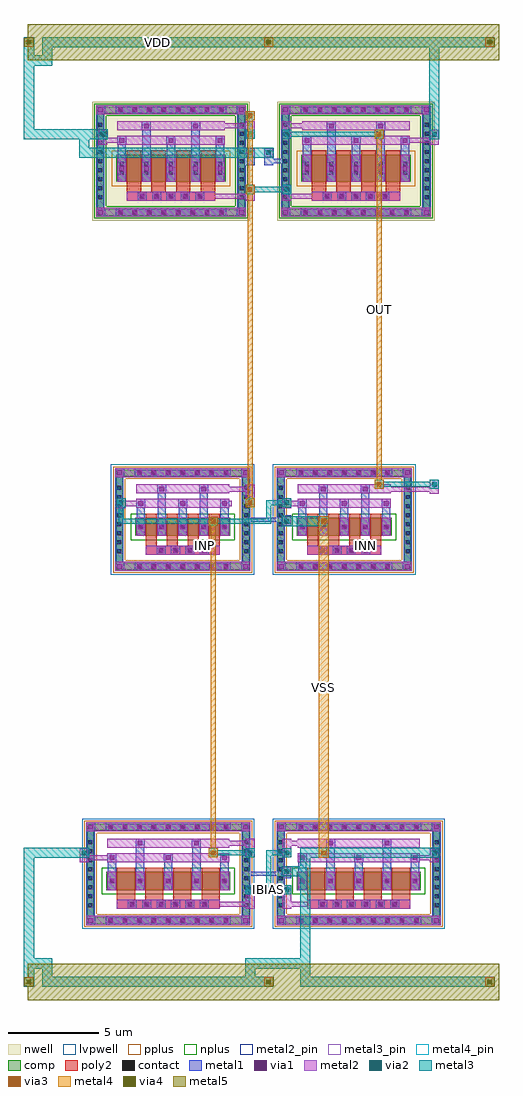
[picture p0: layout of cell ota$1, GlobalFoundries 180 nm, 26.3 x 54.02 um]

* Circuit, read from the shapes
.subckt ota$1 IBIAS INN INP OUT VDD VSS
XM1 n1 IBIAS VSS VSS nfet_03v3 w=1u l=1u m=4
XM2 n2 INP n1 VSS nfet_03v3 w=1u l=0.6u m=4
XM3 IBIAS IBIAS VSS VSS nfet_03v3 w=1u l=1u m=4
XM4 OUT INN n1 VSS nfet_03v3 w=1u l=0.6u m=4
XM5 n2 n2 VDD VDD pfet_03v3 w=1.5u l=0.8u m=4
XM6 OUT n2 VDD VDD pfet_03v3 w=1.5u l=0.8u m=4
.ends

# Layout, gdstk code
import gdstk
lib = gdstk.Library(unit=1e-6, precision=1e-09)
def R(c, l, rs):  # rectangles x0, y0, x1, y1
    for r in rs: c.add(gdstk.rectangle(r[:2], r[2:], *l))
def A(c, l, x, y, w, h, nx, ny, dx, dy):  # array of equal rectangles
    R(c, l, [(x+i*dx, y+j*dy, x+i*dx+w, y+j*dy+h) for i in range(nx) for j in range(ny)])
def P(c, l, *ps):  # polygons
    for p in ps: c.add(gdstk.Polygon(p, *l))
nwell = (21, 0)
comp = (22, 0)
poly2 = (30, 0)
pplus = (31, 0)
nplus = (32, 0)
contact = (33, 0)
metal1 = (34, 0)
via1 = (35, 0)
metal2 = (36, 0)
metal2_pin = (36, 10)
via2 = (38, 0)
via3 = (40, 0)
via4 = (41, 0)
metal3 = (42, 0)
metal3_pin = (42, 10)
metal4 = (46, 0)
metal4_pin = (46, 10)
metal5 = (81, 0)
lvpwell = (204, 0)

ota_1 = lib.new_cell('ota$1')
R(ota_1, nwell, [(-9.49,39.2,-0.75,45.79), (0.75,39.2,9.49,45.79)])
A(ota_1, comp, -8.65, 0.28, 0.36, 0.36, 9, 2, 0.8, 5.18)
A(ota_1, comp, 1.89, 0.28, 0.36, 0.36, 9, 2, 0.8, 5.18)
A(ota_1, comp, -9.76, 1.12, 0.36, 0.36, 1, 8, 0, 0.5)
A(ota_1, comp, -1.14, 1.12, 0.36, 0.36, 1, 8, 0, 0.5)
A(ota_1, comp, 0.78, 1.12, 0.36, 0.36, 1, 8, 0, 0.5)
A(ota_1, comp, 9.4, 1.12, 0.36, 0.36, 1, 8, 0, 0.5)
A(ota_1, comp, -7.05, 19.88, 0.36, 0.36, 7, 2, 0.8, 5.18)
A(ota_1, comp, 1.89, 19.88, 0.36, 0.36, 7, 2, 0.8, 5.18)
A(ota_1, comp, -8.16, 20.72, 0.36, 0.36, 1, 8, 0, 0.5)
A(ota_1, comp, -1.14, 20.72, 0.36, 0.36, 1, 8, 0, 0.5)
A(ota_1, comp, 0.78, 20.72, 0.36, 0.36, 1, 8, 0, 0.5)
A(ota_1, comp, 7.8, 20.72, 0.36, 0.36, 1, 8, 0, 0.5)
A(ota_1, comp, -8.1, 39.48, 0.36, 0.36, 8, 2, 0.8, 5.67)
A(ota_1, comp, 2.14, 39.48, 0.36, 0.36, 8, 2, 0.8, 5.67)
A(ota_1, comp, -9.21, 40.315, 0.36, 0.36, 1, 9, 0, 0.5)
A(ota_1, comp, -1.39, 40.315, 0.36, 0.36, 1, 9, 0, 0.5)
A(ota_1, comp, 1.03, 40.315, 0.36, 0.36, 1, 9, 0, 0.5)
A(ota_1, comp, 8.85, 40.315, 0.36, 0.36, 1, 9, 0, 0.5)
R(ota_1, comp, [(-8.65,0.28,-1.89,0.64), (1.89,0.28,8.65,0.64), (-9.76,1.12,-9.4,4.98), (-1.14,1.12,-0.78,4.98), (0.78,1.12,1.14,4.98), (9.4,1.12,9.76,4.98), (-8.71,2.145,-1.83,3.145), (1.83,2.145,8.71,3.145), (-8.65,5.46,-1.89,5.82), (1.89,5.46,8.65,5.82), (-7.05,19.88,-1.89,20.24), (1.89,19.88,7.05,20.24), (-8.16,20.72,-7.8,24.58), (-1.14,20.72,-0.78,24.58), (0.78,20.72,1.14,24.58), (7.8,20.72,8.16,24.58), (-7.11,21.745,-1.83,22.745), (1.83,21.745,7.11,22.745), (-7.05,25.06,-1.89,25.42), (1.89,25.06,7.05,25.42), (-8.1,39.48,-2.14,39.84), (2.14,39.48,8.1,39.84), (-9.21,40.315,-8.85,44.675), (-1.39,40.315,-1.03,44.675), (1.03,40.315,1.39,44.675), (8.85,40.315,9.21,44.675), (-8.16,41.34,-2.08,42.84), (2.08,41.34,8.16,42.84), (-8.1,45.15,-2.14,45.51), (2.14,45.15,8.1,45.51)])
P(ota_1, comp, [(-8.16,19.88),(-8.16,20.24),(-1.14,20.24),(-1.14,25.06),(-7.8,25.06),(-7.8,20.24),(-8.16,20.24),(-8.16,25.42),(-0.78,25.42),(-0.78,19.88)],
  [(0.78,0.28),(0.78,0.64),(9.4,0.64),(9.4,5.46),(1.14,5.46),(1.14,0.64),(0.78,0.64),(0.78,5.82),(9.76,5.82),(9.76,0.28)],
  [(-9.76,0.28),(-9.76,0.64),(-1.14,0.64),(-1.14,5.46),(-9.4,5.46),(-9.4,0.64),(-9.76,0.64),(-9.76,5.82),(-0.78,5.82),(-0.78,0.28)],
  [(1.03,39.48),(1.03,39.84),(8.85,39.84),(8.85,45.15),(1.39,45.15),(1.39,39.84),(1.03,39.84),(1.03,45.51),(9.21,45.51),(9.21,39.48)],
  [(-9.21,39.48),(-9.21,39.84),(-1.39,39.84),(-1.39,45.15),(-8.85,45.15),(-8.85,39.84),(-9.21,39.84),(-9.21,45.51),(-1.03,45.51),(-1.03,39.48)],
  [(0.78,19.88),(0.78,20.24),(7.8,20.24),(7.8,25.06),(1.14,25.06),(1.14,20.24),(0.78,20.24),(0.78,25.42),(8.16,25.42),(8.16,19.88)])
A(ota_1, poly2, -7.45, 1.175, 0.36, 0.36, 6, 1, 0.8, 0)
A(ota_1, poly2, 3.09, 1.175, 0.36, 0.36, 6, 1, 0.8, 0)
A(ota_1, poly2, -8.11, 1.605, 1, 0.3, 4, 1, 1.56, 0)
A(ota_1, poly2, 2.43, 1.605, 1, 0.3, 4, 1, 1.56, 0)
A(ota_1, poly2, -8.11, 1.905, 1, 1.48, 4, 1, 1.56, 0)
A(ota_1, poly2, 2.43, 1.905, 1, 1.48, 4, 1, 1.56, 0)
A(ota_1, poly2, -5.85, 20.775, 0.36, 0.36, 4, 1, 0.8, 0)
A(ota_1, poly2, 3.09, 20.775, 0.36, 0.36, 4, 1, 0.8, 0)
A(ota_1, poly2, -6.51, 21.205, 0.6, 0.3, 4, 1, 1.16, 0)
A(ota_1, poly2, 2.43, 21.205, 0.6, 0.3, 4, 1, 1.16, 0)
A(ota_1, poly2, -6.51, 21.505, 0.6, 1.48, 4, 1, 1.16, 0)
A(ota_1, poly2, 2.43, 21.505, 0.6, 1.48, 4, 1, 1.16, 0)
A(ota_1, poly2, -6.9, 40.37, 0.36, 0.36, 5, 1, 0.8, 0)
A(ota_1, poly2, 3.34, 40.37, 0.36, 0.36, 5, 1, 0.8, 0)
A(ota_1, poly2, -7.56, 40.8, 0.8, 0.3, 4, 1, 1.36, 0)
A(ota_1, poly2, 2.68, 40.8, 0.8, 0.3, 4, 1, 1.36, 0)
A(ota_1, poly2, -7.56, 41.1, 0.8, 1.98, 4, 1, 1.36, 0)
A(ota_1, poly2, 2.68, 41.1, 0.8, 1.98, 4, 1, 1.36, 0)
R(ota_1, poly2, [(-8.11,1.105,-2.43,1.605), (2.43,1.105,8.11,1.605), (-6.51,20.705,-2.43,21.205), (2.43,20.705,6.51,21.205), (-7.56,40.3,-2.68,40.8), (2.68,40.3,7.56,40.8)])
R(ota_1, pplus, [(-8.39,41.11,-1.85,43.07), (1.85,41.11,8.39,43.07)])
P(ota_1, pplus, [(-8.32,19.72),(-8.32,20.4),(-1.3,20.4),(-1.3,24.9),(-7.64,24.9),(-7.64,20.4),(-8.32,20.4),(-8.32,25.58),(-0.62,25.58),(-0.62,19.72)],
  [(0.62,0.12),(0.62,0.8),(9.24,0.8),(9.24,5.3),(1.3,5.3),(1.3,0.8),(0.62,0.8),(0.62,5.98),(9.92,5.98),(9.92,0.12)],
  [(-9.92,0.12),(-9.92,0.8),(-1.3,0.8),(-1.3,5.3),(-9.24,5.3),(-9.24,0.8),(-9.92,0.8),(-9.92,5.98),(-0.62,5.98),(-0.62,0.12)],
  [(0.62,19.72),(0.62,20.4),(7.64,20.4),(7.64,24.9),(1.3,24.9),(1.3,20.4),(0.62,20.4),(0.62,25.58),(8.32,25.58),(8.32,19.72)])
R(ota_1, nplus, [(-8.94,1.915,-1.6,3.375), (1.6,1.915,8.94,3.375), (-7.34,21.515,-1.6,22.975), (1.6,21.515,7.34,22.975)])
P(ota_1, nplus, [(0.87,39.32),(0.87,40),(8.69,40),(8.69,44.99),(1.55,44.99),(1.55,40),(0.87,40),(0.87,45.67),(9.37,45.67),(9.37,39.32)],
  [(-9.37,39.32),(-9.37,40),(-1.55,40),(-1.55,44.99),(-8.69,44.99),(-8.69,40),(-9.37,40),(-9.37,45.67),(-0.87,45.67),(-0.87,39.32)])
A(ota_1, contact, -8.58, 0.35, 0.22, 0.22, 9, 2, 0.8, 5.18)
A(ota_1, contact, 1.96, 0.35, 0.22, 0.22, 9, 2, 0.8, 5.18)
A(ota_1, contact, -9.69, 1.19, 0.22, 0.22, 1, 8, 0, 0.5)
A(ota_1, contact, -1.07, 1.19, 0.22, 0.22, 1, 8, 0, 0.5)
A(ota_1, contact, 0.85, 1.19, 0.22, 0.22, 1, 8, 0, 0.5)
A(ota_1, contact, 9.47, 1.19, 0.22, 0.22, 1, 8, 0, 0.5)
A(ota_1, contact, -7.38, 1.245, 0.22, 0.22, 6, 1, 0.8, 0)
A(ota_1, contact, 3.16, 1.245, 0.22, 0.22, 6, 1, 0.8, 0)
A(ota_1, contact, -8.5, 2.535, 0.22, 0.22, 5, 1, 1.56, 0)
A(ota_1, contact, 2.04, 2.535, 0.22, 0.22, 5, 1, 1.56, 0)
A(ota_1, contact, -6.98, 19.95, 0.22, 0.22, 7, 2, 0.8, 5.18)
A(ota_1, contact, 1.96, 19.95, 0.22, 0.22, 7, 2, 0.8, 5.18)
A(ota_1, contact, -8.09, 20.79, 0.22, 0.22, 1, 8, 0, 0.5)
A(ota_1, contact, -1.07, 20.79, 0.22, 0.22, 1, 8, 0, 0.5)
A(ota_1, contact, 0.85, 20.79, 0.22, 0.22, 1, 8, 0, 0.5)
A(ota_1, contact, 7.87, 20.79, 0.22, 0.22, 1, 8, 0, 0.5)
A(ota_1, contact, -5.78, 20.845, 0.22, 0.22, 4, 1, 0.8, 0)
A(ota_1, contact, 3.16, 20.845, 0.22, 0.22, 4, 1, 0.8, 0)
A(ota_1, contact, -6.9, 22.135, 0.22, 0.22, 5, 1, 1.16, 0)
A(ota_1, contact, 2.04, 22.135, 0.22, 0.22, 5, 1, 1.16, 0)
A(ota_1, contact, -8.03, 39.55, 0.22, 0.22, 8, 2, 0.8, 5.67)
A(ota_1, contact, 2.21, 39.55, 0.22, 0.22, 8, 2, 0.8, 5.67)
A(ota_1, contact, -9.14, 40.385, 0.22, 0.22, 1, 9, 0, 0.5)
A(ota_1, contact, -1.32, 40.385, 0.22, 0.22, 1, 9, 0, 0.5)
A(ota_1, contact, 1.1, 40.385, 0.22, 0.22, 1, 9, 0, 0.5)
A(ota_1, contact, 8.92, 40.385, 0.22, 0.22, 1, 9, 0, 0.5)
A(ota_1, contact, -6.83, 40.44, 0.22, 0.22, 5, 1, 0.8, 0)
A(ota_1, contact, 3.41, 40.44, 0.22, 0.22, 5, 1, 0.8, 0)
A(ota_1, contact, -7.95, 41.73, 0.22, 0.22, 5, 2, 1.36, 0.5)
A(ota_1, contact, 2.29, 41.73, 0.22, 0.22, 5, 2, 1.36, 0.5)
A(ota_1, metal1, -8.72, 0.21, 0.5, 0.5, 9, 2, 0.8, 5.18)
A(ota_1, metal1, 1.82, 0.21, 0.5, 0.5, 9, 2, 0.8, 5.18)
A(ota_1, metal1, -9.81, 1.07, 0.46, 0.46, 1, 8, 0, 0.5)
A(ota_1, metal1, -1.19, 1.07, 0.46, 0.46, 1, 8, 0, 0.5)
A(ota_1, metal1, 0.73, 1.07, 0.46, 0.46, 1, 8, 0, 0.5)
A(ota_1, metal1, 9.35, 1.07, 0.46, 0.46, 1, 8, 0, 0.5)
A(ota_1, metal1, -7.52, 1.105, 0.5, 0.5, 6, 1, 0.8, 0)
A(ota_1, metal1, 3.02, 1.105, 0.5, 0.5, 6, 1, 0.8, 0)
A(ota_1, metal1, -8.62, 2.145, 0.46, 1, 5, 1, 1.56, 0)
A(ota_1, metal1, 1.92, 2.145, 0.46, 1, 5, 1, 1.56, 0)
A(ota_1, metal1, -8.62, 2.415, 0.46, 0.46, 5, 1, 1.56, 0)
A(ota_1, metal1, 1.92, 2.415, 0.46, 0.46, 5, 1, 1.56, 0)
A(ota_1, metal1, -8.62, 3.145, 0.46, 1.05, 3, 1, 3.12, 0)
A(ota_1, metal1, 1.92, 3.145, 0.46, 1.05, 3, 1, 3.12, 0)
A(ota_1, metal1, -8.64, 3.695, 0.5, 0.5, 3, 1, 3.12, 0)
A(ota_1, metal1, 1.9, 3.695, 0.5, 0.5, 3, 1, 3.12, 0)
A(ota_1, metal1, -7.12, 19.81, 0.5, 0.5, 7, 2, 0.8, 5.18)
A(ota_1, metal1, 1.82, 19.81, 0.5, 0.5, 7, 2, 0.8, 5.18)
A(ota_1, metal1, -8.21, 20.67, 0.46, 0.46, 1, 8, 0, 0.5)
A(ota_1, metal1, -1.19, 20.67, 0.46, 0.46, 1, 8, 0, 0.5)
A(ota_1, metal1, 0.73, 20.67, 0.46, 0.46, 1, 8, 0, 0.5)
A(ota_1, metal1, 7.75, 20.67, 0.46, 0.46, 1, 8, 0, 0.5)
A(ota_1, metal1, -5.92, 20.705, 0.5, 0.5, 4, 1, 0.8, 0)
A(ota_1, metal1, 3.02, 20.705, 0.5, 0.5, 4, 1, 0.8, 0)
A(ota_1, metal1, -7.02, 21.745, 0.46, 1, 5, 1, 1.16, 0)
A(ota_1, metal1, 1.92, 21.745, 0.46, 1, 5, 1, 1.16, 0)
A(ota_1, metal1, -7.02, 22.015, 0.46, 0.46, 5, 1, 1.16, 0)
A(ota_1, metal1, 1.92, 22.015, 0.46, 0.46, 5, 1, 1.16, 0)
A(ota_1, metal1, -7.02, 22.745, 0.46, 1.05, 3, 1, 2.32, 0)
A(ota_1, metal1, 1.92, 22.745, 0.46, 1.05, 3, 1, 2.32, 0)
A(ota_1, metal1, -7.04, 23.295, 0.5, 0.5, 3, 1, 2.32, 0)
A(ota_1, metal1, 1.9, 23.295, 0.5, 0.5, 3, 1, 2.32, 0)
A(ota_1, metal1, -8.17, 39.41, 0.5, 0.5, 8, 2, 0.8, 5.67)
A(ota_1, metal1, 2.07, 39.41, 0.5, 0.5, 8, 2, 0.8, 5.67)
A(ota_1, metal1, -9.26, 40.265, 0.46, 0.46, 1, 9, 0, 0.5)
A(ota_1, metal1, -1.44, 40.265, 0.46, 0.46, 1, 9, 0, 0.5)
A(ota_1, metal1, 0.98, 40.265, 0.46, 0.46, 1, 9, 0, 0.5)
A(ota_1, metal1, 8.8, 40.265, 0.46, 0.46, 1, 9, 0, 0.5)
A(ota_1, metal1, -6.97, 40.3, 0.5, 0.5, 5, 1, 0.8, 0)
A(ota_1, metal1, 3.27, 40.3, 0.5, 0.5, 5, 1, 0.8, 0)
A(ota_1, metal1, -8.07, 41.34, 0.46, 1.5, 5, 1, 1.36, 0)
A(ota_1, metal1, 2.17, 41.34, 0.46, 1.5, 5, 1, 1.36, 0)
A(ota_1, metal1, -8.07, 41.61, 0.46, 0.46, 5, 2, 1.36, 0.5)
A(ota_1, metal1, 2.17, 41.61, 0.46, 0.46, 5, 2, 1.36, 0.5)
A(ota_1, metal1, -8.07, 42.84, 0.46, 1.05, 3, 1, 2.72, 0)
A(ota_1, metal1, 2.17, 42.84, 0.46, 1.05, 3, 1, 2.72, 0)
A(ota_1, metal1, -8.09, 43.39, 0.5, 0.5, 3, 1, 2.72, 0)
A(ota_1, metal1, 2.15, 43.39, 0.5, 0.5, 3, 1, 2.72, 0)
R(ota_1, metal1, [(-9.81,0.21,-9.31,0.71), (-9.81,0.21,-9.31,0.71), (-9.81,0.21,-9.35,0.64), (-8.72,0.21,-1.82,0.71), (-1.23,0.21,-0.73,0.71), (-1.23,0.21,-0.73,0.71), (-1.19,0.21,-0.73,0.64), (0.73,0.21,1.23,0.71), (0.73,0.21,1.23,0.71), (0.73,0.21,1.19,0.64), (1.82,0.21,8.72,0.71), (9.31,0.21,9.81,0.71), (9.31,0.21,9.81,0.71), (9.35,0.21,9.81,0.64), (-9.81,0.64,-9.35,5.46), (-1.19,0.64,-0.73,5.46), (0.73,0.64,1.19,5.46), (9.35,0.64,9.81,5.46), (-8.64,2.395,-8.14,2.895), (-8.64,2.395,-8.14,2.895), (-7.08,2.395,-6.58,2.895), (-7.08,2.395,-6.58,2.895), (-5.52,2.395,-5.02,2.895), (-5.52,2.395,-5.02,2.895), (-3.96,2.395,-3.46,2.895), (-3.96,2.395,-3.46,2.895), (-2.4,2.395,-1.9,2.895), (-2.4,2.395,-1.9,2.895), (1.9,2.395,2.4,2.895), (1.9,2.395,2.4,2.895), (3.46,2.395,3.96,2.895), (3.46,2.395,3.96,2.895), (5.02,2.395,5.52,2.895), (5.02,2.395,5.52,2.895), (6.58,2.395,7.08,2.895), (6.58,2.395,7.08,2.895), (8.14,2.395,8.64,2.895), (8.14,2.395,8.64,2.895), (1.05,2.53,1.19,2.8), (1.05,2.53,1.19,2.8), (1.05,2.53,1.19,2.8), (1.05,2.53,1.19,2.8), (1.05,2.8,1.55,3.43), (1.05,2.8,1.55,3.43), (1.05,2.8,1.55,3.43), (1.05,2.8,1.55,3.43), (1.05,2.93,1.55,3.43), (-0.845,2.935,1.415,3.165), (-0.845,2.935,1.415,3.165), (0.615,2.935,1.415,3.165), (0.615,2.935,1.415,3.165), (-7.06,3.145,-6.6,4.995), (-3.94,3.145,-3.48,4.995), (3.48,3.145,3.94,4.995), (6.6,3.145,7.06,4.995), (1.05,3.43,1.19,3.57), (1.05,3.43,1.19,3.57), (1.05,3.43,1.19,3.57), (1.05,3.43,1.19,3.57), (-7.08,4.495,-6.58,4.995), (-3.96,4.495,-3.46,4.995), (3.46,4.495,3.96,4.995), (6.58,4.495,7.08,4.995), (-9.81,5.39,-9.31,5.89), (-9.81,5.39,-9.31,5.89), (-8.72,5.39,-1.82,5.89), (-1.23,5.39,-0.73,5.89), (-1.23,5.39,-0.73,5.89), (0.73,5.39,1.23,5.89), (0.73,5.39,1.23,5.89), (1.82,5.39,8.72,5.89), (9.31,5.39,9.81,5.89), (9.31,5.39,9.81,5.89), (-9.81,5.46,-9.35,5.89), (-1.19,5.46,-0.73,5.89), (0.73,5.46,1.19,5.89), (9.35,5.46,9.81,5.89), (-8.21,19.81,-7.71,20.31), (-8.21,19.81,-7.71,20.31), (-8.21,19.81,-7.75,20.24), (-7.12,19.81,-1.82,20.31), (-1.23,19.81,-0.73,20.31), (-1.23,19.81,-0.73,20.31), (-1.19,19.81,-0.73,20.24), (0.73,19.81,1.23,20.31), (0.73,19.81,1.23,20.31), (0.73,19.81,1.19,20.24), (1.82,19.81,7.12,20.31), (7.71,19.81,8.21,20.31), (7.71,19.81,8.21,20.31), (7.75,19.81,8.21,20.24), (-8.21,20.24,-7.75,25.06), (-1.19,20.24,-0.73,25.06), (0.73,20.24,1.19,25.06), (7.75,20.24,8.21,25.06), (-7.04,21.995,-6.54,22.495), (-7.04,21.995,-6.54,22.495), (-5.88,21.995,-5.38,22.495), (-5.88,21.995,-5.38,22.495), (-4.72,21.995,-4.22,22.495), (-4.72,21.995,-4.22,22.495), (-3.56,21.995,-3.06,22.495), (-3.56,21.995,-3.06,22.495), (-2.4,21.995,-1.9,22.495), (-2.4,21.995,-1.9,22.495), (1.9,21.995,2.4,22.495), (1.9,21.995,2.4,22.495), (3.06,21.995,3.56,22.495), (3.06,21.995,3.56,22.495), (4.22,21.995,4.72,22.495), (4.22,21.995,4.72,22.495), (5.38,21.995,5.88,22.495), (5.38,21.995,5.88,22.495), (6.54,21.995,7.04,22.495), (6.54,21.995,7.04,22.495), (1.05,22.13,1.19,22.31), (1.05,22.13,1.19,22.31), (1.05,22.13,1.19,22.31), (1.05,22.13,1.19,22.31), (1.05,22.31,1.55,22.9), (1.05,22.31,1.55,22.9), (1.05,22.31,1.55,22.9), (1.05,22.31,1.55,22.9), (1.05,22.31,1.55,22.81), (-0.845,22.535,1.415,22.765), (-0.845,22.535,1.415,22.765), (0.615,22.535,1.415,22.765), (0.615,22.535,1.415,22.765), (-5.86,22.745,-5.4,24.595), (-3.54,22.745,-3.08,24.595), (3.08,22.745,3.54,24.595), (5.4,22.745,5.86,24.595), (1.05,22.9,1.19,23.17), (1.05,22.9,1.19,23.17), (1.05,22.9,1.19,23.17), (1.05,22.9,1.19,23.17), (-5.88,24.095,-5.38,24.595), (-3.56,24.095,-3.06,24.595), (3.06,24.095,3.56,24.595), (5.38,24.095,5.88,24.595), (-8.21,24.99,-7.71,25.49), (-8.21,24.99,-7.71,25.49), (-7.12,24.99,-1.82,25.49), (-1.23,24.99,-0.73,25.49), (-1.23,24.99,-0.73,25.49), (0.73,24.99,1.23,25.49), (0.73,24.99,1.23,25.49), (1.82,24.99,7.12,25.49), (7.71,24.99,8.21,25.49), (7.71,24.99,8.21,25.49), (-8.21,25.06,-7.75,25.49), (-1.19,25.06,-0.73,25.49), (0.73,25.06,1.19,25.49), (7.75,25.06,8.21,25.49), (-9.26,39.41,-8.76,39.91), (-9.26,39.41,-8.76,39.91), (-9.26,39.41,-8.8,39.84), (-8.17,39.41,-2.07,39.91), (-1.48,39.41,-0.98,39.91), (-1.48,39.41,-0.98,39.91), (-1.44,39.41,-0.98,39.84), (0.98,39.41,1.48,39.91), (0.98,39.41,1.48,39.91), (0.98,39.41,1.44,39.84), (2.07,39.41,8.17,39.91), (8.76,39.41,9.26,39.91), (8.76,39.41,9.26,39.91), (8.8,39.41,9.26,39.84), (-9.26,39.84,-8.8,45.15), (-1.44,39.84,-0.98,45.15), (0.98,39.84,1.44,45.15), (8.8,39.84,9.26,45.15), (-8.09,41.84,-7.59,42.34), (-8.09,41.84,-7.59,42.34), (-6.73,41.84,-6.23,42.34), (-6.73,41.84,-6.23,42.34), (-5.37,41.84,-4.87,42.34), (-5.37,41.84,-4.87,42.34), (-4.01,41.84,-3.51,42.34), (-4.01,41.84,-3.51,42.34), (-2.65,41.84,-2.15,42.34), (-2.65,41.84,-2.15,42.34), (2.15,41.84,2.65,42.34), (2.15,41.84,2.65,42.34), (3.51,41.84,4.01,42.34), (3.51,41.84,4.01,42.34), (4.87,41.84,5.37,42.34), (4.87,41.84,5.37,42.34), (6.23,41.84,6.73,42.34), (6.23,41.84,6.73,42.34), (7.59,41.84,8.09,42.34), (7.59,41.84,8.09,42.34), (-1.095,42.225,-0.98,42.385), (-0.99,42.225,-0.98,42.25), (0.98,42.225,1.095,42.385), (-0.99,42.25,-0.49,43.21), (0.03,42.25,0.53,43.21), (-1.095,42.385,-0.625,42.615), (0.165,42.385,1.095,42.615), (-1.095,42.615,-0.98,42.765), (0.98,42.615,1.095,42.765), (-0.99,42.71,-0.49,43.21), (0.03,42.71,0.53,43.21), (-6.71,42.84,-6.25,44.69), (-3.99,42.84,-3.53,44.69), (3.53,42.84,3.99,44.69), (6.25,42.84,6.71,44.69), (-0.99,43.21,-0.98,43.265), (-6.73,44.19,-6.23,44.69), (-4.01,44.19,-3.51,44.69), (3.51,44.19,4.01,44.69), (6.23,44.19,6.73,44.69), (-9.26,45.08,-8.76,45.58), (-9.26,45.08,-8.76,45.58), (-8.17,45.08,-2.07,45.58), (-1.48,45.08,-0.98,45.58), (-1.48,45.08,-0.98,45.58), (0.98,45.08,1.48,45.58), (0.98,45.08,1.48,45.58), (2.07,45.08,8.17,45.58), (8.76,45.08,9.26,45.58), (8.76,45.08,9.26,45.58), (-9.26,45.15,-8.8,45.58), (-1.44,45.15,-0.98,45.58), (0.98,45.15,1.44,45.58), (8.8,45.15,9.26,45.58)])
A(ota_1, via1, -8.6, 0.33, 0.26, 0.26, 9, 2, 0.8, 5.18)
A(ota_1, via1, 1.94, 0.33, 0.26, 0.26, 9, 2, 0.8, 5.18)
A(ota_1, via1, -7.4, 1.225, 0.26, 0.26, 6, 1, 0.8, 0)
A(ota_1, via1, 3.14, 1.225, 0.26, 0.26, 6, 1, 0.8, 0)
A(ota_1, via1, -8.52, 2.515, 0.26, 0.26, 5, 1, 1.56, 0)
A(ota_1, via1, 2.02, 2.515, 0.26, 0.26, 5, 1, 1.56, 0)
A(ota_1, via1, -8.52, 3.815, 0.26, 0.26, 3, 1, 3.12, 0)
A(ota_1, via1, 2.02, 3.815, 0.26, 0.26, 3, 1, 3.12, 0)
A(ota_1, via1, -7, 19.93, 0.26, 0.26, 7, 2, 0.8, 5.18)
A(ota_1, via1, 1.94, 19.93, 0.26, 0.26, 7, 2, 0.8, 5.18)
A(ota_1, via1, -5.8, 20.825, 0.26, 0.26, 4, 1, 0.8, 0)
A(ota_1, via1, 3.14, 20.825, 0.26, 0.26, 4, 1, 0.8, 0)
A(ota_1, via1, -6.92, 22.115, 0.26, 0.26, 5, 1, 1.16, 0)
A(ota_1, via1, 2.02, 22.115, 0.26, 0.26, 5, 1, 1.16, 0)
A(ota_1, via1, -6.92, 23.415, 0.26, 0.26, 3, 1, 2.32, 0)
A(ota_1, via1, 2.02, 23.415, 0.26, 0.26, 3, 1, 2.32, 0)
A(ota_1, via1, -8.05, 39.53, 0.26, 0.26, 8, 2, 0.8, 5.67)
A(ota_1, via1, 2.19, 39.53, 0.26, 0.26, 8, 2, 0.8, 5.67)
A(ota_1, via1, -6.85, 40.42, 0.26, 0.26, 5, 1, 0.8, 0)
A(ota_1, via1, 3.39, 40.42, 0.26, 0.26, 5, 1, 0.8, 0)
A(ota_1, via1, -7.97, 41.96, 0.26, 0.26, 5, 1, 1.36, 0)
A(ota_1, via1, 2.27, 41.96, 0.26, 0.26, 5, 1, 1.36, 0)
A(ota_1, via1, -7.97, 43.51, 0.26, 0.26, 3, 1, 2.72, 0)
A(ota_1, via1, 2.27, 43.51, 0.26, 0.26, 3, 1, 2.72, 0)
R(ota_1, via1, [(-9.69,0.33,-9.43,0.59), (-1.11,0.33,-0.85,0.59), (0.85,0.33,1.11,0.59), (9.43,0.33,9.69,0.59), (1.17,3.05,1.43,3.31), (-6.96,4.615,-6.7,4.875), (-3.84,4.615,-3.58,4.875), (3.58,4.615,3.84,4.875), (6.7,4.615,6.96,4.875), (-9.69,5.51,-9.43,5.77), (-1.11,5.51,-0.85,5.77), (0.85,5.51,1.11,5.77), (9.43,5.51,9.69,5.77), (-8.09,19.93,-7.83,20.19), (-1.11,19.93,-0.85,20.19), (0.85,19.93,1.11,20.19), (7.83,19.93,8.09,20.19), (1.17,22.43,1.43,22.69), (-5.76,24.215,-5.5,24.475), (-3.44,24.215,-3.18,24.475), (3.18,24.215,3.44,24.475), (5.5,24.215,5.76,24.475), (-8.09,25.11,-7.83,25.37), (-1.11,25.11,-0.85,25.37), (0.85,25.11,1.11,25.37), (7.83,25.11,8.09,25.37), (-9.14,39.53,-8.88,39.79), (-1.36,39.53,-1.1,39.79), (1.1,39.53,1.36,39.79), (8.88,39.53,9.14,39.79), (-0.87,42.83,-0.61,43.09), (0.15,42.83,0.41,43.09), (-6.61,44.31,-6.35,44.57), (-3.89,44.31,-3.63,44.57), (3.63,44.31,3.89,44.57), (6.35,44.31,6.61,44.57), (-9.14,45.2,-8.88,45.46), (-1.36,45.2,-1.1,45.46), (1.1,45.2,1.36,45.46), (8.88,45.2,9.14,45.46)])
A(ota_1, metal2, -8.72, 0.21, 0.5, 0.5, 9, 2, 0.8, 5.18)
A(ota_1, metal2, 1.82, 0.21, 0.5, 0.5, 9, 2, 0.8, 5.18)
A(ota_1, metal2, -7.52, 1.105, 0.5, 0.5, 6, 1, 0.8, 0)
A(ota_1, metal2, 3.02, 1.105, 0.5, 0.5, 6, 1, 0.8, 0)
A(ota_1, metal2, 1.05, 1.91, 0.5, 0.5, 1, 3, 0, 1.02)
A(ota_1, metal2, -8.64, 2.145, 0.5, 1, 5, 1, 1.56, 0)
A(ota_1, metal2, 1.9, 2.145, 0.5, 1, 5, 1, 1.56, 0)
A(ota_1, metal2, -8.64, 2.395, 0.5, 0.5, 5, 1, 1.56, 0)
A(ota_1, metal2, 1.9, 2.395, 0.5, 0.5, 5, 1, 1.56, 0)
A(ota_1, metal2, -8.64, 3.695, 0.5, 0.5, 3, 1, 3.12, 0)
A(ota_1, metal2, 1.9, 3.695, 0.5, 0.5, 3, 1, 3.12, 0)
A(ota_1, metal2, -7.12, 19.81, 0.5, 0.5, 7, 2, 0.8, 5.18)
A(ota_1, metal2, 1.82, 19.81, 0.5, 0.5, 7, 2, 0.8, 5.18)
A(ota_1, metal2, -5.92, 20.705, 0.5, 0.5, 4, 1, 0.8, 0)
A(ota_1, metal2, 3.02, 20.705, 0.5, 0.5, 4, 1, 0.8, 0)
A(ota_1, metal2, -7.04, 21.745, 0.5, 1, 5, 1, 1.16, 0)
A(ota_1, metal2, 1.9, 21.745, 0.5, 1, 5, 1, 1.16, 0)
A(ota_1, metal2, -7.04, 21.995, 0.5, 0.5, 5, 1, 1.16, 0)
A(ota_1, metal2, 1.9, 21.995, 0.5, 0.5, 5, 1, 1.16, 0)
A(ota_1, metal2, -7.04, 23.295, 0.5, 0.5, 3, 1, 2.32, 0)
A(ota_1, metal2, 1.9, 23.295, 0.5, 0.5, 3, 1, 2.32, 0)
A(ota_1, metal2, -8.17, 39.41, 0.5, 0.5, 8, 2, 0.8, 5.67)
A(ota_1, metal2, 2.07, 39.41, 0.5, 0.5, 8, 2, 0.8, 5.67)
A(ota_1, metal2, -6.97, 40.3, 0.5, 0.5, 5, 1, 0.8, 0)
A(ota_1, metal2, 3.27, 40.3, 0.5, 0.5, 5, 1, 0.8, 0)
A(ota_1, metal2, -8.09, 41.34, 0.5, 1.5, 5, 1, 1.36, 0)
A(ota_1, metal2, 2.15, 41.34, 0.5, 1.5, 5, 1, 1.36, 0)
A(ota_1, metal2, -8.09, 41.84, 0.5, 0.5, 5, 1, 1.36, 0)
A(ota_1, metal2, 2.15, 41.84, 0.5, 0.5, 5, 1, 1.36, 0)
A(ota_1, metal2, -8.09, 43.39, 0.5, 0.5, 3, 1, 2.72, 0)
A(ota_1, metal2, 2.15, 43.39, 0.5, 0.5, 3, 1, 2.72, 0)
R(ota_1, metal2, [(-9.81,0.21,-9.31,0.71), (-9.81,0.21,-9.31,0.71), (-9.81,0.21,-9.4,0.71), (-9.4,0.21,-1.14,0.71), (-1.23,0.21,-0.73,0.71), (-1.23,0.21,-0.73,0.71), (-1.14,0.21,-0.73,0.71), (0.73,0.21,1.23,0.71), (0.73,0.21,1.23,0.71), (0.73,0.21,1.14,0.71), (1.14,0.21,9.4,0.71), (9.31,0.21,9.81,0.71), (9.31,0.21,9.81,0.71), (9.4,0.21,9.81,0.71), (-0.99,1.1,-0.49,2.41), (1.05,1.1,1.55,2.41), (-8.11,1.105,-2.43,1.605), (2.43,1.105,8.11,1.605), (-2.57,1.21,-0.6,1.49), (1.16,1.21,2.57,1.49), (-0.99,1.91,-0.49,2.41), (-10.17,3.69,-9.67,4.45), (9.21,3.69,9.71,4.45), (-8.64,3.695,-1.9,4.195), (1.9,3.695,8.64,4.195), (-10.06,3.8,-8.5,4.08), (8.5,3.8,9.6,4.08), (-10.17,3.95,-9.67,4.45), (-0.99,3.95,-0.49,4.45), (-0.99,3.95,-0.49,4.99), (1.05,3.95,1.55,4.99), (9.21,3.95,9.71,4.45), (-8.64,4.495,-1.9,4.995), (-7.08,4.495,-6.58,4.995), (-3.96,4.495,-3.46,4.995), (1.9,4.495,8.64,4.995), (3.46,4.495,3.96,4.995), (6.58,4.495,7.08,4.995), (-2.04,4.6,-0.6,4.88), (1.16,4.6,2.04,4.88), (-9.81,5.39,-9.31,5.89), (-9.81,5.39,-9.31,5.89), (-9.81,5.39,-9.4,5.89), (-9.4,5.39,-1.14,5.89), (-1.23,5.39,-0.73,5.89), (-1.23,5.39,-0.73,5.89), (-1.14,5.39,-0.73,5.89), (0.73,5.39,1.23,5.89), (0.73,5.39,1.23,5.89), (0.73,5.39,1.14,5.89), (1.14,5.39,9.4,5.89), (9.31,5.39,9.81,5.89), (9.31,5.39,9.81,5.89), (9.4,5.39,9.81,5.89), (-8.21,19.81,-7.71,20.31), (-8.21,19.81,-7.71,20.31), (-8.21,19.81,-7.8,20.31), (-7.8,19.81,-1.14,20.31), (-1.23,19.81,-0.73,20.31), (-1.23,19.81,-0.73,20.31), (-1.14,19.81,-0.73,20.31), (0.73,19.81,1.23,20.31), (0.73,19.81,1.23,20.31), (0.73,19.81,1.14,20.31), (1.14,19.81,7.8,20.31), (7.71,19.81,8.21,20.31), (7.71,19.81,8.21,20.31), (7.8,19.81,8.21,20.31), (-6.51,20.705,-2.43,21.205), (2.43,20.705,6.51,21.205), (1.05,22.31,1.55,22.81), (-8.13,23.29,-7.63,23.83), (1.05,23.29,1.55,23.83), (-7.04,23.295,-1.9,23.795), (1.9,23.295,7.04,23.795), (-8.13,23.33,-7.63,23.83), (-0.99,23.33,-0.49,23.83), (-0.99,23.33,-0.49,24.59), (1.05,23.33,1.55,23.83), (-8.02,23.4,-1.76,23.68), (1.16,23.4,2.04,23.68), (9.21,24.09,9.71,24.85), (-7.04,24.095,-1.9,24.595), (-5.88,24.095,-5.38,24.595), (-3.56,24.095,-3.06,24.595), (1.9,24.095,7.04,24.595), (3.06,24.095,3.56,24.595), (5.38,24.095,5.88,24.595), (-2.04,24.2,-0.6,24.48), (6.9,24.2,9.6,24.48), (9.21,24.35,9.71,24.85), (-8.21,24.99,-7.71,25.49), (-8.21,24.99,-7.71,25.49), (-8.21,24.99,-7.8,25.49), (-7.8,24.99,-1.14,25.49), (-1.23,24.99,-0.73,25.49), (-1.23,24.99,-0.73,25.49), (-1.14,24.99,-0.73,25.49), (0.73,24.99,1.23,25.49), (0.73,24.99,1.23,25.49), (0.73,24.99,1.14,25.49), (1.14,24.99,7.8,25.49), (7.71,24.99,8.21,25.49), (7.71,24.99,8.21,25.49), (7.8,24.99,8.21,25.49), (-9.26,39.41,-8.76,39.91), (-9.26,39.41,-8.76,39.91), (-9.26,39.41,-8.85,39.91), (-8.85,39.41,-1.39,39.91), (-1.48,39.41,-0.98,39.91), (-1.48,39.41,-0.98,39.91), (-1.39,39.41,-0.98,39.91), (0.98,39.41,1.48,39.91), (0.98,39.41,1.48,39.91), (0.98,39.41,1.39,39.91), (1.39,39.41,8.85,39.91), (8.76,39.41,9.26,39.91), (8.76,39.41,9.26,39.91), (8.85,39.41,9.26,39.91), (-7.56,40.3,-2.68,40.8), (-0.99,40.3,-0.49,41.17), (1.05,40.3,1.55,41.17), (2.68,40.3,7.56,40.8), (-2.82,40.41,-0.6,40.69), (1.16,40.41,2.82,40.69), (-0.99,40.67,-0.49,41.17), (1.05,40.67,1.55,41.17), (-0.99,42.71,-0.49,43.21), (0.03,42.71,0.53,43.21), (-9.15,43.39,-8.65,44.23), (-8.09,43.39,-2.15,43.89), (2.15,43.39,8.09,43.89), (9.21,43.39,9.71,44.23), (-9.04,43.5,-7.95,43.78), (7.95,43.5,9.6,43.78), (-9.15,43.73,-8.65,44.23), (-0.99,43.73,-0.49,44.69), (-0.99,43.73,-0.49,44.23), (1.05,43.73,1.55,44.69), (1.05,43.73,1.55,44.23), (9.21,43.73,9.71,44.23), (-8.09,44.19,-2.15,44.69), (-6.73,44.19,-6.23,44.69), (-4.01,44.19,-3.51,44.69), (2.15,44.19,8.09,44.69), (3.51,44.19,4.01,44.69), (6.23,44.19,6.73,44.69), (-2.29,44.3,-0.6,44.58), (1.16,44.3,2.29,44.58), (-9.26,45.08,-8.76,45.58), (-9.26,45.08,-8.76,45.58), (-9.26,45.08,-8.85,45.58), (-8.85,45.08,-1.39,45.58), (-1.48,45.08,-0.98,45.58), (-1.48,45.08,-0.98,45.58), (-1.39,45.08,-0.98,45.58), (0.98,45.08,1.48,45.58), (0.98,45.08,1.48,45.58), (0.98,45.08,1.39,45.58), (1.39,45.08,8.85,45.58), (8.76,45.08,9.26,45.58), (8.76,45.08,9.26,45.58), (8.85,45.08,9.26,45.58)])
R(ota_1, metal2_pin, [(-3.41,21.065,-3.13,21.345), (5.53,21.065,5.81,21.345)])
A(ota_1, via2, 1.17, 2.03, 0.26, 0.26, 1, 3, 0, 1.02)
R(ota_1, via2, [(-0.87,2.03,-0.61,2.29), (-10.05,4.07,-9.79,4.33), (-0.87,4.07,-0.61,4.33), (9.33,4.07,9.59,4.33), (1.17,22.43,1.43,22.69), (-8.01,23.45,-7.75,23.71), (-0.87,23.45,-0.61,23.71), (1.17,23.45,1.43,23.71), (9.33,24.47,9.59,24.73), (-0.87,40.79,-0.61,41.05), (1.17,40.79,1.43,41.05), (-0.87,42.83,-0.61,43.09), (0.15,42.83,0.41,43.09), (-9.03,43.85,-8.77,44.11), (-0.87,43.85,-0.61,44.11), (1.17,43.85,1.43,44.11), (9.33,43.85,9.59,44.11)])
R(ota_1, via3, [(-13.11,-3.07,-12.85,-2.81), (0.15,-3.07,0.41,-2.81), (12.39,-3.07,12.65,-2.81), (-2.91,4.07,-2.65,4.33), (3.21,4.07,3.47,4.33), (-2.91,22.43,-2.65,22.69), (3.21,22.43,3.47,22.69), (-0.87,23.45,-0.61,23.71), (6.27,24.47,6.53,24.73), (-0.87,40.79,-0.61,41.05), (6.27,43.85,6.53,44.11), (-0.87,44.87,-0.61,45.13), (-13.11,48.95,-12.85,49.21), (0.15,48.95,0.41,49.21), (12.39,48.95,12.65,49.21)])
R(ota_1, via4, [(-13.11,-3.07,-12.85,-2.81), (0.15,-3.07,0.41,-2.81), (12.39,-3.07,12.65,-2.81), (-13.11,48.95,-12.85,49.21), (0.15,48.95,0.41,49.21), (12.39,48.95,12.65,49.21)])
A(ota_1, metal3, -3.03, 3.95, 0.5, 0.5, 4, 1, 2.04, 0)
A(ota_1, metal3, -0.99, 42.71, 0.5, 0.5, 1, 3, 0, 1.02)
R(ota_1, metal3, [(-13.26,-3.22,-12.7,4.48), (-12.24,-3.22,0.56,-2.66), (-12.24,-3.22,-11.68,-1.64), (-1.02,-3.22,-0.46,-1.64), (2.04,-3.22,2.6,-1.64), (2.04,-3.22,12.8,-2.66), (-13.23,-3.19,-12.73,-2.69), (0.03,-3.19,0.53,-2.69), (12.27,-3.19,12.77,-2.69), (-13.26,-2.2,-11.68,-1.64), (-1.02,-2.2,2.6,-1.64), (2.04,-2.2,2.6,3.46), (-0.99,1.91,-0.49,2.41), (1.05,1.91,1.55,2.41), (-0.88,2.02,1.44,2.3), (0.14,2.02,0.42,4.34), (1.02,2.9,2.6,3.46), (2.04,2.9,2.6,4.48), (1.05,2.93,1.55,3.43), (-13.26,3.92,-9.64,4.48), (2.04,3.92,9.74,4.48), (-10.17,3.95,-9.67,4.45), (9.21,3.95,9.71,4.45), (-2.92,4.06,-0.6,4.34), (0.14,4.06,1.44,4.34), (1.02,22.28,3.62,22.84), (-3.03,22.31,-2.53,22.81), (1.05,22.31,1.55,22.81), (3.09,22.31,3.59,22.81), (-8.02,22.42,-7.74,23.72), (-8.02,22.42,0.42,22.7), (0.14,22.42,0.42,23.72), (-8.13,23.33,-7.63,23.83), (-0.99,23.33,-0.49,23.83), (-0.99,23.33,-0.49,23.83), (1.05,23.33,1.55,23.83), (0.14,23.44,1.44,23.72), (6.15,24.35,6.65,24.85), (9.21,24.35,9.71,24.85), (6.26,24.46,9.6,24.74), (-0.99,40.67,-0.49,41.17), (-0.99,40.67,-0.49,41.17), (1.05,40.67,1.55,41.17), (-0.88,40.78,1.44,41.06), (-10.2,42.68,-9.64,44.26), (-10.2,42.68,-0.46,43.24), (-1.02,42.68,0.56,43.24), (0.03,42.71,0.53,43.21), (-13.26,43.7,-12.7,49.36), (-13.26,43.7,-8.62,44.26), (9.18,43.7,9.74,49.36), (-9.15,43.73,-8.65,44.23), (1.05,43.73,1.55,44.23), (6.15,43.73,6.65,44.23), (9.21,43.73,9.71,44.23), (-0.88,43.84,-0.6,45.14), (1.16,43.84,6.54,44.12), (-13.26,47.78,-11.68,48.34), (-12.24,47.78,-11.68,49.36), (-12.24,48.8,0.56,49.36), (0,48.8,12.8,49.36), (-13.23,48.83,-12.73,49.33), (0.03,48.83,0.53,49.33), (12.27,48.83,12.77,49.33)])
R(ota_1, metal3_pin, [(0.14,2.02,0.42,2.3), (-6.12,48.8,-5.56,49.36)])
R(ota_1, metal4, [(-13.23,-3.19,-12.73,-2.69), (0.03,-3.19,0.53,-2.69), (12.27,-3.19,12.77,-2.69), (3.06,3.92,3.62,22.84), (-3.03,3.95,-2.53,4.45), (3.09,3.95,3.59,4.45), (-2.92,4.06,-2.64,22.7), (-3.03,22.31,-2.53,22.81), (3.09,22.31,3.59,22.81), (-0.99,23.33,-0.49,23.83), (-0.88,23.44,-0.6,41.06), (6.15,24.35,6.65,24.85), (6.26,24.46,6.54,44.12), (-0.99,40.67,-0.49,41.17), (-0.88,40.78,-0.6,45.14), (6.15,43.73,6.65,44.23), (-0.99,44.75,-0.49,45.25), (-13.23,48.83,-12.73,49.33), (0.03,48.83,0.53,49.33), (12.27,48.83,12.77,49.33)])
R(ota_1, metal4_pin, [(3.06,13.1,3.62,13.66), (6.26,34.15,6.54,34.43)])
R(ota_1, metal5, [(-13.04,-3.94,13.04,-1.94), (-13.23,-3.19,-12.73,-2.69), (0.03,-3.19,0.53,-2.69), (12.27,-3.19,12.77,-2.69), (-13.04,48.08,13.04,50.08), (-13.23,48.83,-12.73,49.33), (0.03,48.83,0.53,49.33), (12.27,48.83,12.77,49.33)])
R(ota_1, lvpwell, [(-10.04,0,-0.5,6.1), (0.5,0,10.04,6.1), (-8.44,19.6,-0.5,25.7), (0.5,19.6,8.44,25.7)])
ota_1.add(gdstk.Label('INN', (5.67,21.205), layer=36, texttype=10))
ota_1.add(gdstk.Label('INP', (-3.27,21.205), layer=36, texttype=10))
ota_1.add(gdstk.Label('OUT', (6.4,34.29), layer=46, texttype=10))
ota_1.add(gdstk.Label('VSS', (3.34,13.38), layer=46, texttype=10))
ota_1.add(gdstk.Label('IBIAS', (0.28,2.16), layer=42, texttype=10))
ota_1.add(gdstk.Label('VDD', (-5.84,49.08), layer=42, texttype=10))

lib.write_gds('ota_1.gds')
